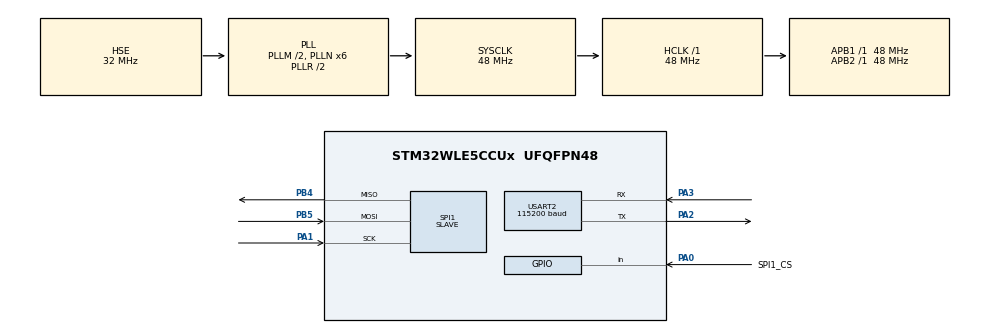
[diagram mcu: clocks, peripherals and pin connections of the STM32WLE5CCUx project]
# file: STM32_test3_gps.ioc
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Mcu.Family=STM32WL
Mcu.Name=STM32WLE5CCUx
Mcu.Package=UFQFPN48
NVIC.PriorityGroup=NVIC_PRIORITYGROUP_4
OSC_IN.Mode=HSE-External-Oscillator
OSC_IN.Signal=RCC_OSC_IN
OSC_OUT.Mode=HSE-External-Oscillator
OSC_OUT.Signal=RCC_OSC_OUT
PA0.GPIO_Label=SPI1_CS
PA0.Signal=GPIO_Input
PA1.Mode=Full_Duplex_Slave
PA1.Signal=SPI1_SCK
PA13.Mode=Trace_Asynchronous_SW
PA13.Signal=DEBUG_JTMS-SWDIO
PA14.Mode=Trace_Asynchronous_SW
PA14.Signal=DEBUG_JTCK-SWCLK
PA2.Mode=Asynchronous
PA2.Signal=USART2_TX
PA3.Mode=Asynchronous
PA3.Signal=USART2_RX
PB3.Mode=Trace_Asynchronous_SW
PB3.Signal=DEBUG_JTDO-SWO
PB4.Mode=Full_Duplex_Slave
PB4.Signal=SPI1_MISO
PB5.Mode=Full_Duplex_Slave
PB5.Signal=SPI1_MOSI
ProjectManager.HeapSize=0x200
ProjectManager.StackSize=0x400
ProjectManager.TargetToolchain=STM32CubeIDE
RCC.AHBFreq_Value=48000000
RCC.APB1Freq_Value=48000000
RCC.APB1TimFreq_Value=48000000
RCC.APB2Freq_Value=48000000
RCC.APB2TimFreq_Value=48000000
RCC.APB3Freq_Value=48000000
RCC.CortexFreq_Value=48000000
RCC.HCLKFreq_Value=48000000
RCC.HSE_VALUE=32000000
RCC.HSI_VALUE=16000000
RCC.LSE_VALUE=32768
RCC.PLLM=RCC_PLLM_DIV2
RCC.PLLN=6
RCC.PLLSourceVirtual=RCC_PLLSOURCE_HSE
RCC.SYSCLKFreq_VALUE=48000000
RCC.SYSCLKSource=RCC_SYSCLKSOURCE_PLLCLK
RCC.VCOOutputFreq_Value=96000000
SPI1.DataSize=SPI_DATASIZE_8BIT
SPI1.Direction=SPI_DIRECTION_2LINES
SPI1.Mode=SPI_MODE_SLAVE
SPI1.VirtualType=VM_SLAVE
USART2.BaudRate=115200
USART2.VirtualMode-Asynchronous=VM_ASYNC
board=custom

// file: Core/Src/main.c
/* USER CODE BEGIN Header */
/**
  ******************************************************************************
  * @file           : main.c
  * @brief          : Main program body
  ******************************************************************************
  * @attention
  *
  * Copyright (c) 2026 STMicroelectronics.
  * All rights reserved.
  *
  * This software is licensed under terms that can be found in the LICENSE file
  * in the root directory of this software component.
  * If no LICENSE file comes with this software, it is provided AS-IS.
  *
  ******************************************************************************
  */
/* USER CODE END Header */
#include "main.h"
#include "spi.h"
#include "usart.h"
#include "gpio.h"

/* USER CODE BEGIN Includes */
#include "tinygps.h"
#include <stdio.h>
#include <string.h>
/* USER CODE END Includes */

/* USER CODE BEGIN PV */
TinyGPSPlus gps;
uint8_t uart_rx_byte;
/* USER CODE END PV */

void SystemClock_Config(void);

int main(void)
{

  /* MCU Configuration--------------------------------------------------------*/

  /* Reset of all peripherals, Initializes the Flash interface and the Systick. */
  HAL_Init();

  /* Configure the system clock */
  SystemClock_Config();

  /* Initialize all configured peripherals */
  MX_GPIO_Init();
  MX_SPI1_Init();
  MX_USART2_UART_Init();
  /* USER CODE BEGIN 2 */
  TinyGPSPlus_Init(&gps);

  // Clear any pending Overrun or Error flags that might have occurred during boot
  // If the GPS was already sending data before STM32 finished booting, an ORE prevents IT from starting.
  __HAL_UART_CLEAR_FLAG(&huart2, UART_CLEAR_OREF | UART_CLEAR_NEF | UART_CLEAR_PEF | UART_CLEAR_FEF);

  // Start the interrupt reception
  if (HAL_UART_Receive_IT(&huart2, &uart_rx_byte, 1) != HAL_OK) {
      // If it fails to start, we can at least flag it in the TX buffer
      gps.encodedCharCount = 999999;
  }
  /* USER CODE END 2 */

  /* Infinite loop */
  while (1)
  {

    /* USER CODE BEGIN 3 */
    char txData[64] = {0}; // Zero-initialize to prevent garbage bytes
    if (gps.location.valid) {
        double lat = TinyGPSLocation_Lat(&gps.location);
        double lng = TinyGPSLocation_Lng(&gps.location);

        // Workaround for STM32 snprintf float support being disabled by default:
        int lat_int = (int)lat;
        int lat_frac = (int)((lat < 0 ? lat_int - lat : lat - lat_int) * 1000000);
        int lng_int = (int)lng;
        int lng_frac = (int)((lng < 0 ? lng_int - lng : lng - lng_int) * 1000000);

        snprintf(txData, sizeof(txData), "Lat: %d.%06d, Lng: %d.%06d", lat_int, lat_frac, lng_int, lng_frac);
    } else {
        snprintf(txData, sizeof(txData), "Wait... C:%lu V:%lu E:%lu",
                 (unsigned long)gps.encodedCharCount,
                 (unsigned long)gps.passedChecksumCount,
                 (unsigned long)gps.failedChecksumCount);
    }

    uint8_t rxData[64] = {0}; // Same size as txData

    // Disable and Re-enable SPI to flush any partial bits/noise.
    // This forcibly resynchronizes the SPI hardware before waiting for the ESP32.
    __HAL_SPI_DISABLE(&hspi1);
    __HAL_SPI_ENABLE(&hspi1);

    // Wait for master (ESP32) to clock out exactly 64 bytes.
    // We use HAL_MAX_DELAY so the STM32 is 100% ready and waiting whenever the ESP32 decides to transmit.
    HAL_SPI_TransmitReceive(&hspi1, (uint8_t*)txData, rxData, 64, HAL_MAX_DELAY);

  }
  /* USER CODE END 3 */
}

void SystemClock_Config(void)
{
  RCC_OscInitTypeDef RCC_OscInitStruct = {0};
  RCC_ClkInitTypeDef RCC_ClkInitStruct = {0};

  /** Configure the main internal regulator output voltage
  */
  __HAL_PWR_VOLTAGESCALING_CONFIG(PWR_REGULATOR_VOLTAGE_SCALE1);

  /** Initializes the CPU, AHB and APB buses clocks
  */
  RCC_OscInitStruct.OscillatorType = RCC_OSCILLATORTYPE_HSE;
  RCC_OscInitStruct.HSEState = RCC_HSE_ON;
  RCC_OscInitStruct.HSEDiv = RCC_HSE_DIV1;
  RCC_OscInitStruct.PLL.PLLState = RCC_PLL_ON;
  RCC_OscInitStruct.PLL.PLLSource = RCC_PLLSOURCE_HSE;
  RCC_OscInitStruct.PLL.PLLM = RCC_PLLM_DIV2;
  RCC_OscInitStruct.PLL.PLLN = 6;
  RCC_OscInitStruct.PLL.PLLP = RCC_PLLP_DIV2;
  RCC_OscInitStruct.PLL.PLLR = RCC_PLLR_DIV2;
  RCC_OscInitStruct.PLL.PLLQ = RCC_PLLQ_DIV2;
  if (HAL_RCC_OscConfig(&RCC_OscInitStruct) != HAL_OK)
  {
    Error_Handler();
  }

  /** Configure the SYSCLKSource, HCLK, PCLK1 and PCLK2 clocks dividers
  */
  RCC_ClkInitStruct.ClockType = RCC_CLOCKTYPE_HCLK3|RCC_CLOCKTYPE_HCLK
                              |RCC_CLOCKTYPE_SYSCLK|RCC_CLOCKTYPE_PCLK1
                              |RCC_CLOCKTYPE_PCLK2;
  RCC_ClkInitStruct.SYSCLKSource = RCC_SYSCLKSOURCE_PLLCLK;
  RCC_ClkInitStruct.AHBCLKDivider = RCC_SYSCLK_DIV1;
  RCC_ClkInitStruct.APB1CLKDivider = RCC_HCLK_DIV1;
  RCC_ClkInitStruct.APB2CLKDivider = RCC_HCLK_DIV1;
  RCC_ClkInitStruct.AHBCLK3Divider = RCC_SYSCLK_DIV1;

  if (HAL_RCC_ClockConfig(&RCC_ClkInitStruct, FLASH_LATENCY_2) != HAL_OK)
  {
    Error_Handler();
  }
}

/* USER CODE BEGIN 4 */
void HAL_UART_RxCpltCallback(UART_HandleTypeDef *huart) {
    if (huart->Instance == USART2) {
        TinyGPSPlus_Encode(&gps, (char)uart_rx_byte);
        HAL_UART_Receive_IT(&huart2, &uart_rx_byte, 1);
    }
}

void HAL_UART_ErrorCallback(UART_HandleTypeDef *huart) {
    if (huart->Instance == USART2) {
        gps.failedChecksumCount++;
        // Explicitly clear all error flags before restarting
        __HAL_UART_CLEAR_FLAG(huart, UART_CLEAR_OREF | UART_CLEAR_NEF | UART_CLEAR_PEF | UART_CLEAR_FEF);
        HAL_UART_Receive_IT(&huart2, &uart_rx_byte, 1);
    }
}
/* USER CODE END 4 */

void Error_Handler(void)
{
  __disable_irq();
  while (1)
  {
  }
}
